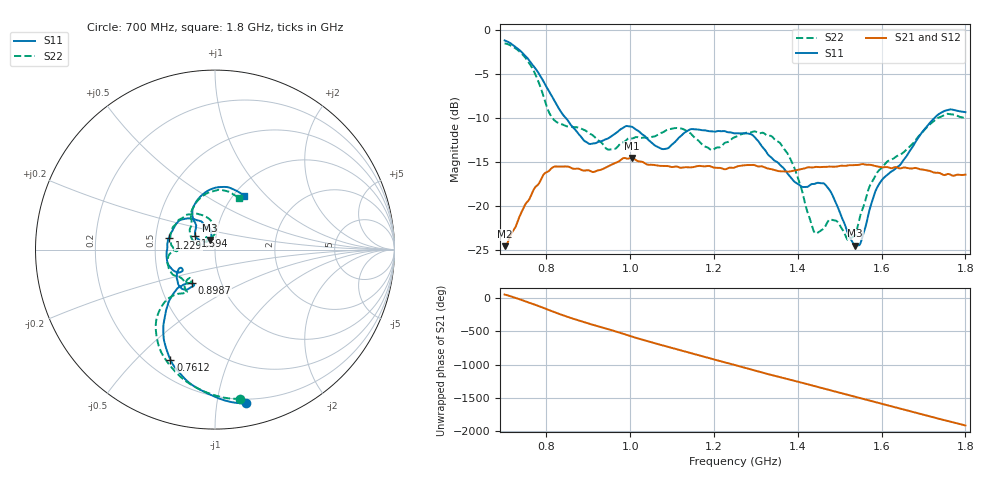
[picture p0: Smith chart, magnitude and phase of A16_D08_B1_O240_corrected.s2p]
! Created with skrf 1.9.0 (http://scikit-rf.org).
# Hz S RI R 50.0
!freq ReS11 ImS11 ReS21 ImS21 ReS12 ImS12 ReS22 ImS22
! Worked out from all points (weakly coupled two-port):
!   1601 points, 700 MHz to 1.8 GHz, reference 50 ohm
!   highest |S21| = -14.50 dB at 1.003 GHz (marker M1); lowest = -24.5 dB at 700.7 MHz (marker M2)
!   lowest |S11| = -24.5 dB at 1.537 GHz (marker M3), VSWR 1.13, Z = 47.1 + j5.06 ohm
!   |S11| at or under -10 dB: 846.6 MHz to 1.725 GHz (878.9 MHz wide, 68.3 % of centre)
!   |S22| runs from -23.9 to -1.5 dB; largest |S21 - S12| = 0.0037
!   S11 on the Smith chart (normalised r, x): 700 MHz: 0.17, -1.21; 761.2 MHz: 0.29, -0.63; 898.7 MHz: 0.72, -0.29; 1.229 GHz: 0.59, +0.08; 1.594 GHz: 0.79, +0.13; 1.8 GHz: 1.12, +0.76
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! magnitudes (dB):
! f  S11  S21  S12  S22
! 700 MHz  -1.2  -24.5  -24.3  -1.5
! 700.7 MHz  -1.2  -24.5  -24.2  -1.5
! 761.2 MHz  -3.6  -19.0  -18.9  -3.9
! 814.8 MHz  -7.7  -15.6  -15.6  -10.0
! 883.6 MHz  -12.2  -15.9  -15.8  -11.2
! 898.7 MHz  -12.8  -15.9  -15.9  -11.6
! 948.9 MHz  -12.2  -15.4  -15.4  -13.6
! 1.003 GHz  -11.0  -14.5  -14.6  -12.3
! 1.067 GHz  -13.3  -15.4  -15.3  -11.8
! 1.145 GHz  -11.2  -15.6  -15.6  -11.8
! 1.229 GHz  -11.5  -15.8  -15.7  -12.7
! 1.25 GHz  -11.7  -15.6  -15.5  -12.1
! 1.359 GHz  -15.3  -16.0  -16.0  -12.9
! 1.393 GHz  -17.2  -15.9  -15.9  -15.8
! 1.434 GHz  -17.5  -15.6  -15.6  -22.2
! 1.474 GHz  -18.0  -15.5  -15.5  -21.6
! 1.537 GHz  -24.5  -15.3  -15.3  -23.3
! 1.551 GHz  -24.0  -15.2  -15.3  -20.7
! 1.594 GHz  -17.4  -15.5  -15.5  -15.9
! 1.617 GHz  -16.3  -15.6  -15.6  -14.8
! 1.734 GHz  -9.6  -16.2  -16.2  -10.0
! 1.8 GHz  -9.3  -16.4  -16.4  -10.0
